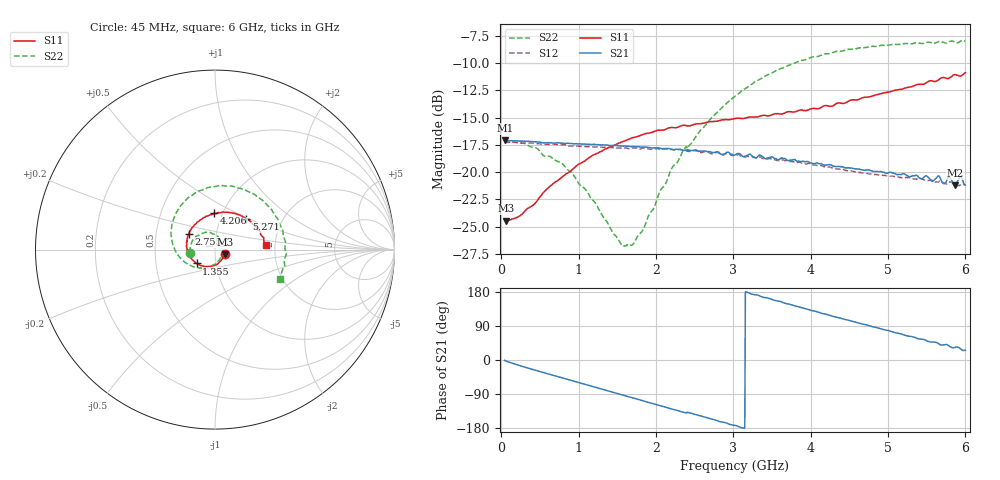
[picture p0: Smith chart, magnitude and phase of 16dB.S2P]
! C:\Users\Aljaz\OneDrive - Univerza v Ljubljani\DOKTORAT\NOVI SA\Slabilec PE43711B\meritve\prototip2\16dB.S2P
! Touchstone 1.1 file saved by VNA.EXE V1.65 (www.ke5fx.com/gpib/readme.htm)
! 18. 04. 2022 18:05:56
!  Source: HP8510C.07.14: Aug 26  1998
!  Min freq: 4.500000E+007 Hz
!  Max freq: 6.000000E+009 Hz
!  Points: 801
!  Params: S11 S21 S12 S22
# GHZ S DB R 50
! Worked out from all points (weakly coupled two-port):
!   801 points, 45 MHz to 6 GHz, reference 50 ohm
!   highest |S21| = -17.09 dB at 52.44 MHz (marker M1); lowest = -21.2 dB at 5.866 GHz (marker M2)
!   lowest |S11| = -24.5 dB at 67.33 MHz (marker M3), VSWR 1.13, Z = 55.7 - j2.68 ohm
!   |S11| at or under -10 dB: start of sweep to end of sweep
!   |S22| runs from -26.8 to -7.9 dB; largest |S21 - S12| = 0.0087
!   S11 on the Smith chart (normalised r, x): 45 MHz: 1.11, -0.06; 1.355 GHz: 0.81, -0.13; 2.755 GHz: 0.73, +0.13; 4.206 GHz: 0.91, +0.38; 5.271 GHz: 1.32, +0.48; 6 GHz: 1.79, +0.11
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0.045  -24.32 -25.2  -17.10 -0.9  -17.28 -1.1  -17.01 -173.3
0.05244375  -24.38 -24.2  -17.09 -1.8  -17.28 -1.9  -17.07 -175.5
0.06733125  -24.46 -23.7  -17.11 -3.2  -17.27 -3.2  -17.11 -178.5
0.253425  -23.94 -44.2  -17.16 -15.4  -17.26 -15.4  -17.33 161.5
0.7670438  -20.58 -100.9  -17.34 -45.8  -17.49 -45.7  -19.11 119.4
1.042463  -19.14 -122.1  -17.43 -61.8  -17.66 -61.8  -21.28 92.7
1.3551  -17.86 -142.8  -17.51 -79.9  -17.74 -79.4  -24.44 52.7
1.563525  -17.23 -154.9  -17.60 -92.0  -17.77 -91.1  -26.75 11.1
1.690069  -16.87 -161.7  -17.66 -99.3  -17.78 -98.3  -26.70 -20.5
2.032481  -16.14 -178.9  -17.77 -119.3  -17.85 -118.5  -22.10 -88.7
2.36745  -15.71 165.1  -18.00 -138.4  -17.97 -137.9  -17.86 -126.1
2.754525  -15.35 148.9  -18.20 -157.5  -18.32 -157.3  -14.78 -157.4
3.0225  -15.08 137.4  -18.43 -172.4  -18.49 -173.1  -13.04 -179.2
3.491456  -14.78 118.5  -18.61 160.7  -18.78 160.0  -10.93 145.2
4.019963  -14.16 98.7  -19.20 130.3  -19.30 129.6  -9.44 107.2
4.206056  -13.89 91.8  -19.33 120.2  -19.54 119.6  -9.14 94.4
4.63035  -13.31 73.9  -19.73 97.0  -20.04 97.0  -8.59 65.3
5.009981  -12.66 57.3  -20.04 77.4  -20.36 77.6  -8.33 39.8
5.270512  -12.20 44.5  -20.39 62.8  -20.50 63.9  -8.22 23.0
5.866013  -11.05 13.6  -21.22 33.5  -21.18 33.0  -8.09 -15.6
5.933006  -11.18 9.8  -20.43 30.2  -21.17 31.8  -8.01 -21.7
6  -10.87 5.5  -21.17 25.6  -21.18 27.4  -8.00 -24.2
